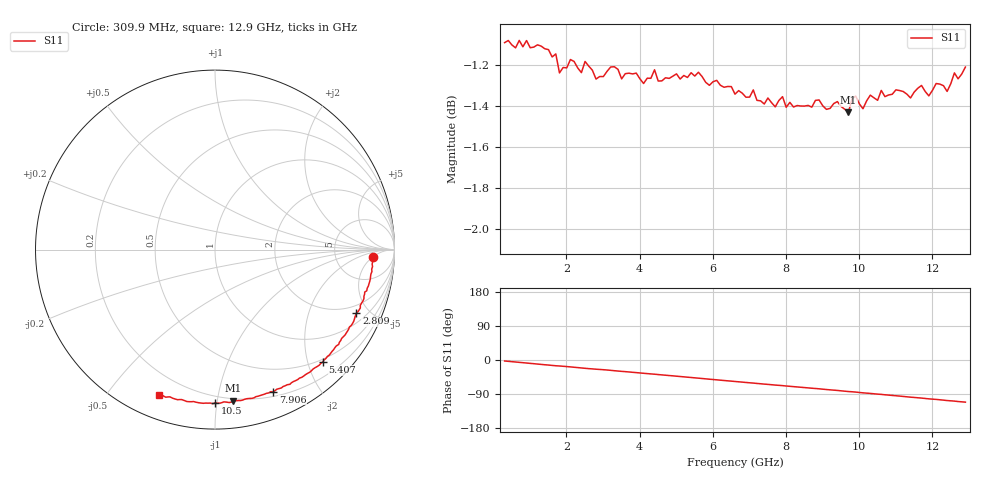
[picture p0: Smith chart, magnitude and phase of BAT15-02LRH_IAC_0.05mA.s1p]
! Infineon Technologies  Discrete & RF Semiconductors
! BAT15-02LRH
! IAC = 0.05 mA
! One-Port S-Parameters
# Hz  S  MA  R  50
!f  S11
!Hz  Mag  Ang
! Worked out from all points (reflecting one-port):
!   127 points, 309.9 MHz to 12.9 GHz, reference 50 ohm
!   lowest |S11| = -1.4 dB at 9.705 GHz (marker M1), VSWR 12.16, Z = 9.25 - j55.5 ohm
!   phase of S11 starts at -3 deg and turns -109 deg over the sweep
!   S11 on the Smith chart (normalised r, x): 309.9 MHz: 14, -5; 2.809 GHz: 1.48, -4.15; 5.407 GHz: 0.45, -2.27; 7.906 GHz: 0.25, -1.46; 10.5 GHz: 0.16, -0.99; 12.9 GHz: 0.10, -0.68
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3.0985e8  0.8818 -2.6
9.0955e8  0.8828 -8.0
1.70915e9  0.8762 -15.2
1.8091e9  0.867 -15.8
1.90905e9  0.8696 -16.5
2.50875e9  0.8725 -21.9
2.8086e9  0.864 -24.3
3.2084e9  0.8698 -27.3
3.50825e9  0.8641 -30.0
4.4078e9  0.8685 -37.5
5.10745e9  0.864 -43.6
5.4073e9  0.867 -46.2
6.10695e9  0.8634 -52.3
6.6067e9  0.8567 -56.7
7.10645e9  0.8588 -60.9
7.90605e9  0.8555 -67.7
8.2059e9  0.8506 -70.3
8.90555e9  0.8539 -76.0
9.70515e9  0.848 -83.2
9.8051e9  0.8545 -83.8
1.050475e10  0.8538 -90.1
1.10045e10  0.8588 -94.3
1.14043e10  0.8549 -98.1
1.170415e10  0.8609 -100.5
1.210395e10  0.8618 -104.0
1.24038e10  0.858 -107.0
1.26037e10  0.867 -108.5
1.290355e10  0.8698 -111.2
